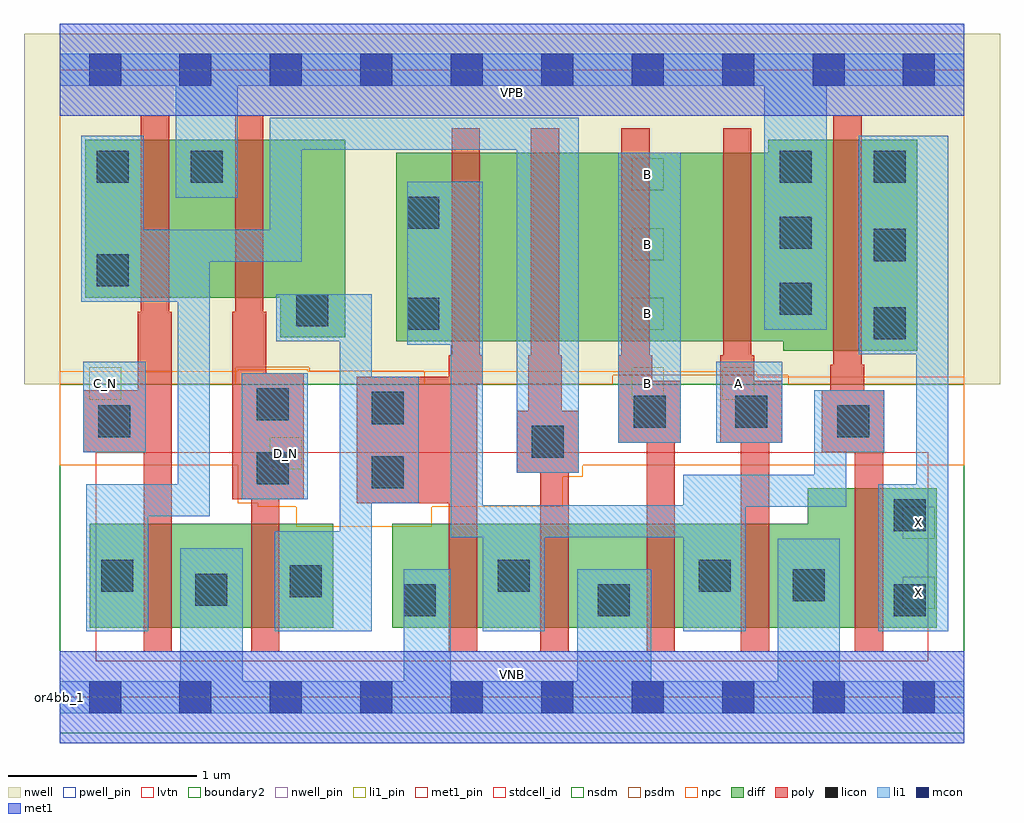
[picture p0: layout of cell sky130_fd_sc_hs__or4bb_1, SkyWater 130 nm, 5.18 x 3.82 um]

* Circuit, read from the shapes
.subckt sky130_fd_sc_hs__or4bb_1 A B C_N D_N VGND VNB VPB VPWR X
XM1 VGND C_N n1 VNB sky130_fd_pr__nfet_01v8_lvt w=0.55 l=0.15
XM2 n2 D_N VGND VNB sky130_fd_pr__nfet_01v8_lvt w=0.55 l=0.15
XM3 n3 n2 VGND VNB sky130_fd_pr__nfet_01v8_lvt w=0.55 l=0.15
XM4 VGND n1 n3 VNB sky130_fd_pr__nfet_01v8_lvt w=0.55 l=0.15
XM5 n3 B VGND VNB sky130_fd_pr__nfet_01v8_lvt w=0.55 l=0.15
XM6 VGND A n3 VNB sky130_fd_pr__nfet_01v8_lvt w=0.55 l=0.15
XM7 X n3 VGND VNB sky130_fd_pr__nfet_01v8_lvt w=0.74 l=0.15
XM8 VPWR C_N n1 VPB sky130_fd_pr__pfet_01v8 w=0.84 l=0.15
XM9 n2 D_N VPWR VPB sky130_fd_pr__pfet_01v8 w=0.84 l=0.15
XM10 n4 n2 n3 VPB sky130_fd_pr__pfet_01v8 w=1 l=0.15
XM11 n5 n1 n4 VPB sky130_fd_pr__pfet_01v8 w=1 l=0.15
XM12 n6 B n5 VPB sky130_fd_pr__pfet_01v8 w=1 l=0.15
XM13 VPWR A n6 VPB sky130_fd_pr__pfet_01v8 w=1 l=0.15
XM14 X n3 VPWR VPB sky130_fd_pr__pfet_01v8 w=1.12 l=0.15
.ends

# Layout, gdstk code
import gdstk
lib = gdstk.Library(unit=1e-6, precision=1e-09)
def R(c, l, rs):  # rectangles x0, y0, x1, y1
    for r in rs: c.add(gdstk.rectangle(r[:2], r[2:], *l))
def A(c, l, x, y, w, h, nx, ny, dx, dy):  # array of equal rectangles
    R(c, l, [(x+i*dx, y+j*dy, x+i*dx+w, y+j*dy+h) for i in range(nx) for j in range(ny)])
def P(c, l, *ps):  # polygons
    for p in ps: c.add(gdstk.Polygon(p, *l))
nwell_pin = (64, 16)
nwell = (64, 20)
diff = (65, 20)
poly = (66, 20)
licon = (66, 44)
li1_pin = (67, 16)
li1 = (67, 20)
mcon = (67, 44)
met1_pin = (68, 16)
met1 = (68, 20)
stdcell_id = (81, 4)
nsdm = (93, 44)
psdm = (94, 20)
npc = (95, 20)
pwell_pin = (122, 16)
lvtn = (125, 44)
boundary2 = (236, 0)

sky130_fd_sc_hs__or4bb_1 = lib.new_cell('sky130_fd_sc_hs__or4bb_1')
R(sky130_fd_sc_hs__or4bb_1, nwell_pin, [(0,3.085,4.8,3.33)])
R(sky130_fd_sc_hs__or4bb_1, nwell, [(-0.19,1.66,4.99,3.52)])
R(sky130_fd_sc_hs__or4bb_1, diff, [(0.16,0.37,1.45,0.92)])
P(sky130_fd_sc_hs__or4bb_1, diff, [(1.515,2.96),(0.135,2.96),(0.135,2.12),(1.17,2.12),(1.17,1.91),(1.515,1.91)],
  [(4.55,2.96),(3.76,2.96),(3.76,2.89),(1.785,2.89),(1.785,1.89),(3.84,1.89),(3.84,1.84),(4.55,1.84)],
  [(4.655,1.11),(3.97,1.11),(3.97,0.92),(1.765,0.92),(1.765,0.37),(4.655,0.37)])
P(sky130_fd_sc_hs__or4bb_1, poly, [(4.375,1.63),(4.27,1.63),(4.27,1.765),(4.255,1.765),(4.255,3.09),(4.105,3.09),(4.105,1.765),(4.09,1.765),(4.09,1.63),(4.045,1.63),(4.045,1.3),(4.22,1.3),(4.22,0.24),(4.37,0.24),(4.37,1.3),(4.375,1.3)],
  [(3.835,1.68),(3.685,1.68),(3.685,1.815),(3.67,1.815),(3.67,3.02),(3.52,3.02),(3.52,1.815),(3.505,1.815),(3.505,1.35),(3.615,1.35),(3.615,0.24),(3.765,0.24),(3.765,1.35),(3.835,1.35)],
  [(3.295,1.68),(3.145,1.68),(3.145,1.815),(3.13,1.815),(3.13,3.02),(2.98,3.02),(2.98,1.815),(2.965,1.815),(2.965,1.35),(3.115,1.35),(3.115,0.24),(3.265,0.24),(3.265,1.35),(3.295,1.35)],
  [(2.755,1.52),(2.665,1.52),(2.665,1.815),(2.65,1.815),(2.65,3.02),(2.5,3.02),(2.5,1.815),(2.485,1.815),(2.485,1.52),(2.425,1.52),(2.425,1.19),(2.55,1.19),(2.55,0.24),(2.7,0.24),(2.7,1.19),(2.755,1.19)],
  [(2.245,1.815),(2.23,1.815),(2.23,3.02),(2.08,3.02),(2.08,1.815),(2.065,1.815),(2.065,1.7),(1.575,1.7),(1.575,1.03),(2.065,1.03),(2.065,0.24),(2.215,0.24),(2.215,1.66),(2.245,1.66)],
  [(1.295,1.72),(1.095,1.72),(1.095,2.045),(1.08,2.045),(1.08,3.09),(0.93,3.09),(0.93,2.045),(0.915,2.045),(0.915,1.05),(1.015,1.05),(1.015,0.24),(1.165,0.24),(1.165,1.05),(1.295,1.05)],
  [(0.595,2.045),(0.58,2.045),(0.58,3.09),(0.43,3.09),(0.43,2.045),(0.415,2.045),(0.415,1.63),(0.125,1.63),(0.125,1.3),(0.445,1.3),(0.445,0.24),(0.595,0.24)])
A(sky130_fd_sc_hs__or4bb_1, licon, 4.32, 1.9, 0.17, 0.17, 1, 3, 0, 0.415)
A(sky130_fd_sc_hs__or4bb_1, licon, 3.82, 2.03, 0.17, 0.17, 1, 3, 0, 0.35)
R(sky130_fd_sc_hs__or4bb_1, licon, [(1.825,0.43,1.995,0.6), (2.855,0.43,3.025,0.6), (4.425,0.43,4.595,0.6), (0.72,0.485,0.89,0.655), (3.89,0.51,4.06,0.68), (1.22,0.53,1.39,0.7), (0.22,0.56,0.39,0.73), (2.325,0.56,2.495,0.73), (3.39,0.56,3.56,0.73), (4.425,0.88,4.595,1.05), (1.655,1.11,1.825,1.28), (1.045,1.13,1.215,1.3), (2.505,1.27,2.675,1.44), (0.205,1.38,0.375,1.55), (4.125,1.38,4.295,1.55), (3.045,1.43,3.215,1.6), (3.585,1.43,3.755,1.6), (1.655,1.45,1.825,1.62), (1.045,1.47,1.215,1.64), (1.845,1.95,2.015,2.12), (1.255,1.97,1.425,2.14), (0.195,2.18,0.365,2.35), (1.845,2.485,2.015,2.655), (0.195,2.73,0.365,2.9), (0.695,2.73,0.865,2.9)])
A(sky130_fd_sc_hs__or4bb_1, li1_pin, 3.035, 1.58, 0.17, 0.17, 1, 4, 0, 0.37)
R(sky130_fd_sc_hs__or4bb_1, li1_pin, [(4.475,0.47,4.645,0.64), (4.475,0.84,4.645,1.01), (1.115,1.21,1.285,1.38), (0.155,1.58,0.325,1.75), (3.515,1.58,3.685,1.75)])
R(sky130_fd_sc_hs__or4bb_1, li1, [(0.965,1.05,1.315,1.72), (0.125,1.3,0.455,1.78), (2.965,1.35,3.295,2.89), (3.485,1.35,3.835,1.78)])
P(sky130_fd_sc_hs__or4bb_1, li1, [(0.615,2.65),(0.615,3.245),(0,3.245),(0,3.415),(4.8,3.415),(4.8,3.245),(4.07,3.245),(4.07,1.95),(3.74,1.95),(3.74,3.245),(0.945,3.245),(0.945,2.65)],
  [(1.825,0.085),(1.825,0.68),(2.075,0.68),(2.075,0.085),(2.745,0.085),(2.745,0.68),(3.14,0.68),(3.14,0.085),(3.81,0.085),(3.81,0.84),(4.14,0.84),(4.14,0.085),(4.8,0.085),(4.8,-0.085),(0,-0.085),(0,0.085),(0.64,0.085),(0.64,0.79),(0.97,0.79),(0.97,0.085)],
  [(1.485,1.89),(1.15,1.89),(1.15,2.14),(1.655,2.14),(1.655,1.7),(1.905,1.7),(1.905,1.03),(1.655,1.03),(1.655,0.35),(1.14,0.35),(1.14,0.88),(1.485,0.88)],
  [(4.175,1.01),(3.64,1.01),(3.64,0.35),(3.31,0.35),(3.31,0.85),(2.575,0.85),(2.575,0.35),(2.245,0.35),(2.245,0.85),(2.075,0.85),(2.075,1.87),(1.845,1.87),(1.845,2.735),(2.245,2.735),(2.245,1.02),(3.31,1.02),(3.31,1.18),(4.005,1.18),(4.005,1.63),(4.375,1.63),(4.375,1.3),(4.175,1.3)],
  [(0.14,1.13),(0.625,1.13),(0.625,2.1),(0.115,2.1),(0.115,2.98),(0.445,2.98),(0.445,2.48),(1.115,2.48),(1.115,3.075),(2.755,3.075),(2.755,1.19),(2.425,1.19),(2.425,2.905),(1.285,2.905),(1.285,2.31),(0.795,2.31),(0.795,0.96),(0.47,0.96),(0.47,0.35),(0.14,0.35)],
  [(4.345,0.35),(4.345,1.13),(4.545,1.13),(4.545,1.82),(4.24,1.82),(4.24,2.98),(4.715,2.98),(4.715,0.35)])
A(sky130_fd_sc_hs__or4bb_1, mcon, 0.155, -0.085, 0.17, 0.17, 10, 2, 0.48, 3.33)
R(sky130_fd_sc_hs__or4bb_1, met1_pin, [(0,0,4.8,0.245), (0,3.085,4.8,3.33)])
R(sky130_fd_sc_hs__or4bb_1, met1, [(0,-0.245,4.8,0.245), (0,3.085,4.8,3.575)])
R(sky130_fd_sc_hs__or4bb_1, stdcell_id, [(0,0,4.8,3.33)])
R(sky130_fd_sc_hs__or4bb_1, nsdm, [(0,-0.19,4.8,1.66)])
P(sky130_fd_sc_hs__or4bb_1, psdm, [(4.8,3.52),(0,3.52),(0,1.66),(0.935,1.66),(0.935,1.75),(1.325,1.75),(1.325,1.73),(1.935,1.73),(1.935,1.66),(2.935,1.66),(2.935,1.71),(3.865,1.71),(3.865,1.66),(4.8,1.66)])
P(sky130_fd_sc_hs__or4bb_1, npc, [(4.8,1.7),(3.7,1.7),(3.7,1.73),(1.315,1.73),(1.315,1.74),(0.945,1.74),(0.945,1.73),(0,1.73),(0,1.23),(0.945,1.23),(0.945,1.03),(1.05,1.03),(1.05,1.01),(1.255,1.01),(1.255,0.905),(1.975,0.905),(1.975,1.01),(2.67,1.01),(2.67,1.17),(2.775,1.17),(2.775,1.23),(4.8,1.23)])
R(sky130_fd_sc_hs__or4bb_1, pwell_pin, [(0,0,4.8,0.245)])
R(sky130_fd_sc_hs__or4bb_1, lvtn, [(0.19,0.19,4.61,1.3)])
R(sky130_fd_sc_hs__or4bb_1, boundary2, [(0,0,4.8,3.33)])
sky130_fd_sc_hs__or4bb_1.add(gdstk.Label('or4bb_1', (0,0), layer=83, texttype=44))
sky130_fd_sc_hs__or4bb_1.add(gdstk.Label('VNB', (2.4,0.123), layer=64, texttype=59))
sky130_fd_sc_hs__or4bb_1.add(gdstk.Label('VPB', (2.4,3.208), layer=64, texttype=5))
sky130_fd_sc_hs__or4bb_1.add(gdstk.Label('VPWR', (2.4,3.208), layer=68, texttype=5))
sky130_fd_sc_hs__or4bb_1.add(gdstk.Label('VGND', (2.4,0.123), layer=68, texttype=5))
sky130_fd_sc_hs__or4bb_1.add(gdstk.Label('D_N', (1.2,1.295), layer=67, texttype=5))
sky130_fd_sc_hs__or4bb_1.add(gdstk.Label('C_N', (0.24,1.665), layer=67, texttype=5))
sky130_fd_sc_hs__or4bb_1.add(gdstk.Label('B', (3.12,1.665), layer=67, texttype=5))
sky130_fd_sc_hs__or4bb_1.add(gdstk.Label('B', (3.12,2.035), layer=67, texttype=5))
sky130_fd_sc_hs__or4bb_1.add(gdstk.Label('B', (3.12,2.405), layer=67, texttype=5))
sky130_fd_sc_hs__or4bb_1.add(gdstk.Label('B', (3.12,2.775), layer=67, texttype=5))
sky130_fd_sc_hs__or4bb_1.add(gdstk.Label('A', (3.6,1.665), layer=67, texttype=5))
sky130_fd_sc_hs__or4bb_1.add(gdstk.Label('X', (4.56,0.555), layer=67, texttype=5))
sky130_fd_sc_hs__or4bb_1.add(gdstk.Label('X', (4.56,0.925), layer=67, texttype=5))

lib.write_gds('sky130_fd_sc_hs__or4bb_1.gds')
